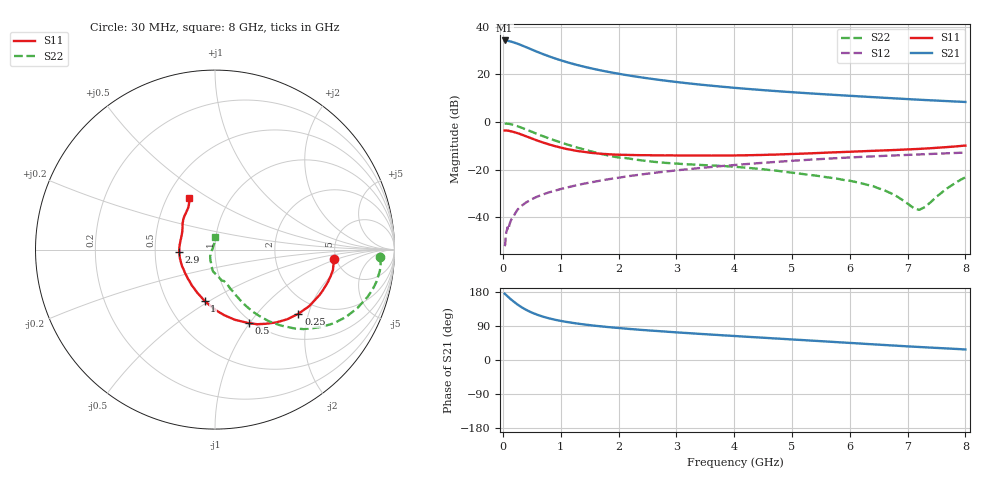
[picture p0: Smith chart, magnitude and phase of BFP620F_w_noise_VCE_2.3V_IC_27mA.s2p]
! Infineon Technologies  Discrete & RF Semiconductors
! BFP620F
! VCE =  2.3 V,  IC =  27 mA
! Common Emitter S-Parameters:  Dec 2014
# GHz  S  MA  R  50
!  f  S11  S21  S12  S22
! GHz  MAG  ANG  MAG  ANG  MAG  ANG  MAG  ANG
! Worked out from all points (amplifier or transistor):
!   95 points, 30 MHz to 8 GHz, reference 50 ohm
!   highest |S21| = 34.2 dB at 30 MHz (marker M1)
!   |S21| within 3 dB of that: start of sweep to 420.5 MHz
!   unconditionally stable (mu >= 1): 2.476 GHz to end of sweep
!   at 300 MHz: K = 0.42, MSG = 34.0 dB, |S12| = -35.5 dB
!   at 3.3 GHz: K = 1.03, MAG = 16.8 dB, |S12| = -19.6 dB
!   at 8 GHz: K = 1.06, MAG = 9.1 dB, |S12| = -12.8 dB
!   lowest NFmin = 1.05 dB at 450 MHz
!   S11 on the Smith chart (normalised r, x): 30 MHz: 4.78, -0.91; 250 MHz: 1.58, -1.72; 500 MHz: 0.96, -0.99; 1 GHz: 0.76, -0.48; 2.9 GHz: 0.67, -0.02; 8 GHz: 0.64, +0.41
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0.03  0.6646 -4.6  51.2 175.2  0.0025 56.1  0.9218 -2.4
0.08  0.6609 -13.0  50.38 168.1  0.0062 70.3  0.9219 -9.0
0.13  0.6421 -20.7  48.88 161.3  0.008 71.0  0.9017 -14.9
0.2  0.612 -31.0  46.1 152.6  0.0114 68.9  0.8574 -22.4
0.25  0.586 -37.6  43.92 146.8  0.0144 69.5  0.8199 -27.3
0.3  0.559 -44.0  41.66 141.6  0.0167 68.6  0.7799 -31.7
0.35  0.5298 -50.0  39.31 136.9  0.0185 68.0  0.7384 -35.5
0.4  0.5014 -55.5  37.14 132.6  0.0206 67.2  0.6978 -38.9
0.5  0.4517 -65.2  33 125.2  0.0242 65.1  0.6249 -44.7
0.6  0.4068 -74.1  29.39 119.1  0.0275 64.7  0.5581 -49.2
0.7  0.3698 -81.8  26.35 114.1  0.0305 64.5  0.5016 -52.9
0.8  0.3391 -88.9  23.73 109.9  0.0336 64.4  0.4528 -55.8
1  0.2919 -101.5  19.68 103.2  0.0394 64.1  0.374 -60.3
1.4  0.2372 -123.2  14.48 93.9  0.051 63.7  0.267 -66.2
2  0.2063 -149.4  10.28 84.5  0.068 62.7  0.1806 -74.5
2.7  0.2003 -171.0  7.656 76.2  0.0884 59.9  0.1433 -85.6
2.9  0.1997 -175.8  7.136 74.0  0.0939 59.1  0.1369 -88.1
4.1  0.2001 160.4  5.095 62.4  0.1282 52.9  0.113 -97.2
5.4  0.2229 144.2  3.923 50.6  0.1647 45.1  0.0758 -107.7
6.7  0.2569 130.3  3.168 38.7  0.1976 36.4  0.0326 -137.9
7.2  0.2734 123.7  2.934 34.4  0.2093 33.3  0.0144 157.0
8  0.3212 116.7  2.631 27.8  0.2287 28.0  0.0695 88.1
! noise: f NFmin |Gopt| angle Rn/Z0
0.45  1.05  0.02  -178  0.19
0.9  1.09  0.03  -171  0.15
1.5  1.1  0.05  -151  0.16
1.8  1.12  0.06  -148  0.17
1.9  1.12  0.07  -148  0.16
2.4  1.14  0.08  -147  0.16
3.5  1.21  0.11  -143  0.17
5.5  1.36  0.19  238  0.12
6  1.4  0.2  259  0.15
